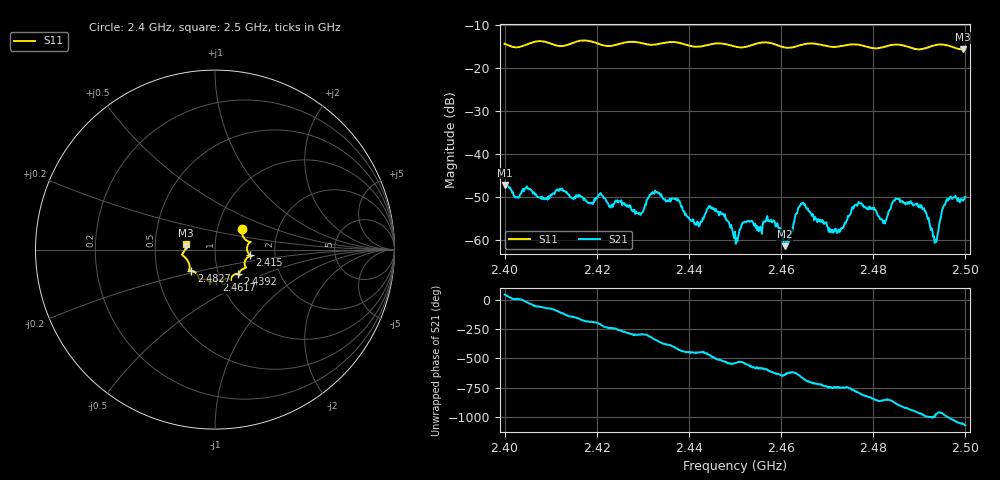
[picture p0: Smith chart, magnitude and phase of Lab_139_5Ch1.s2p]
# Hz S RI R 50
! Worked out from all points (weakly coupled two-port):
!   601 points, 2.4 GHz to 2.5 GHz, reference 50 ohm
!   highest |S21| = -47.28 dB at 2.4 GHz (marker M1); lowest = -61.5 dB at 2.4608 GHz (marker M2)
!   lowest |S11| = -15.7 dB at 2.4995 GHz (marker M3), VSWR 1.39, Z = 36 + j1.65 ohm
!   |S11| at or under -10 dB: start of sweep to end of sweep
!   S12 and S22 are empty: the file has one direction only
!   S11 on the Smith chart (normalised r, x): 2.4 GHz: 1.31, +0.31; 2.415 GHz: 1.48, -0.10; 2.4392 GHz: 1.24, -0.35; 2.4617 GHz: 0.96, -0.34; 2.4827 GHz: 0.75, -0.18; 2.5 GHz: 0.72, +0.05
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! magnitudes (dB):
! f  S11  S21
! 2.4 GHz  -14.4  -47.3
! 2.415 GHz  -14.2  -50.6
! 2.4167 GHz  -13.7  -50.0
! 2.4293 GHz  -14.2  -53.9
! 2.4333 GHz  -14.5  -49.2
! 2.4392 GHz  -14.6  -54.3
! 2.4448 GHz  -14.5  -52.7
! 2.45 GHz  -15.1  -58.1
! 2.4573 GHz  -14.2  -55.5
! 2.4608 GHz  -15.3  -61.5
! 2.4617 GHz  -15.4  -60.6
! 2.4643 GHz  -14.7  -51.6
! 2.4667 GHz  -14.4  -54.4
! 2.4708 GHz  -15.1  -58.3
! 2.4768 GHz  -14.7  -51.2
! 2.4827 GHz  -15.1  -55.7
! 2.4833 GHz  -14.9  -53.4
! 2.49 GHz  -15.7  -52.0
! 2.4935 GHz  -14.7  -60.1
! 2.4958 GHz  -14.7  -51.0
! 2.4995 GHz  -15.7  -51.0
! 2.5 GHz  -15.7  -50.1
